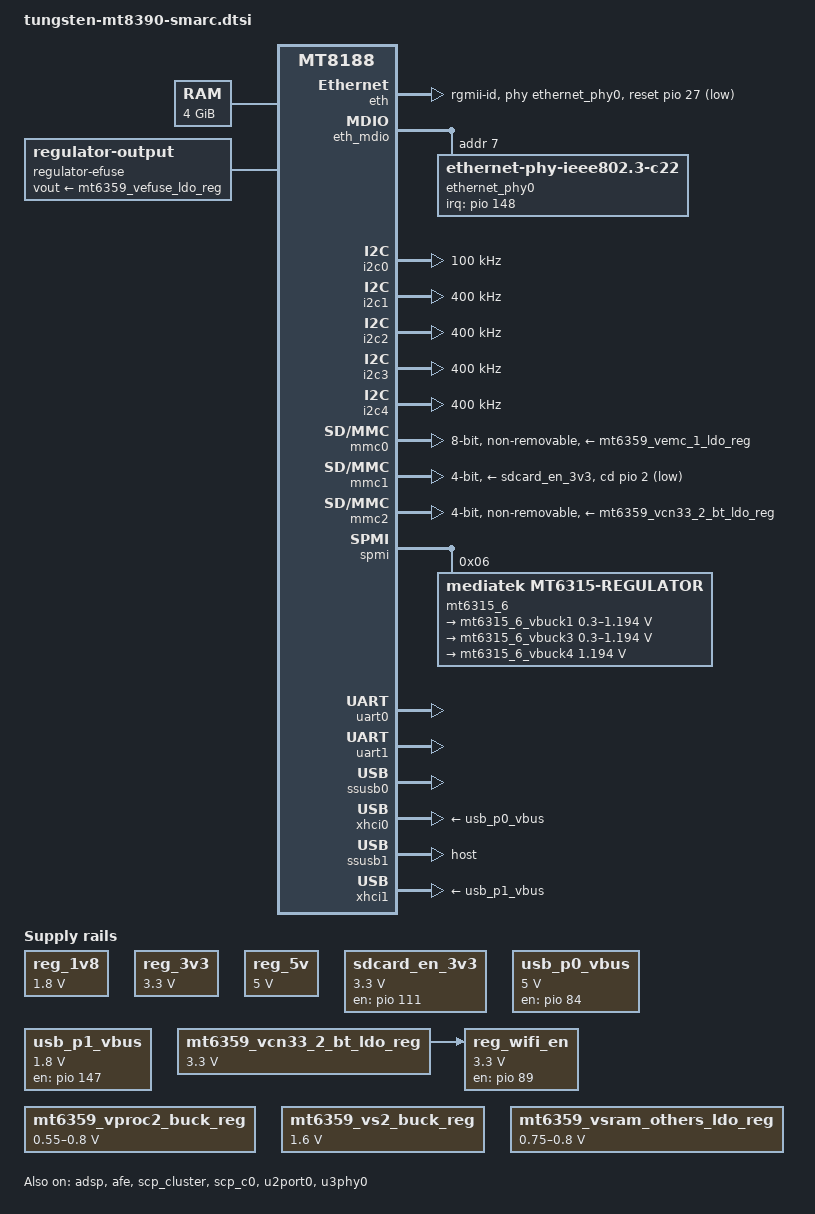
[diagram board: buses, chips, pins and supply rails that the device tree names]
// SPDX-License-Identifier: (GPL-2.0 OR MIT)
/*
 * Copyright (C) 2025-2026 Ezurio LLC
 */

#include "mt8188.dtsi"
#include "mt6359.dtsi"
#include <dt-bindings/clock/mediatek,mt8188-clk.h>
#include <dt-bindings/gpio/gpio.h>
#include <dt-bindings/input/input.h>
#include <dt-bindings/input/linux-event-codes.h>
#include <dt-bindings/interrupt-controller/irq.h>
#include <dt-bindings/net/microchip-lan78xx.h>
#include <dt-bindings/pinctrl/mediatek,mt8188-pinfunc.h>
#include <dt-bindings/power/mediatek,mt8188-power.h>
#include <dt-bindings/spmi/spmi.h>
#include <dt-bindings/usb/pd.h>

/ {
	aliases {
		ethernet0 = &eth;
		i2c0 = &i2c0;
		i2c1 = &i2c1;
		i2c2 = &i2c2;
		i2c3 = &i2c3;
		i2c4 = &i2c4;
		i2c6 = &i2c6;
		mmc0 = &mmc0;
		mmc1 = &mmc1;
		mmc2 = &mmc2;
		rtc0 = &mt6359rtc;
		serial0 = &uart0;
	};

	chosen {
		stdout-path = "serial0:115200n8";
	};

	firmware {
		optee {
			compatible = "linaro,optee-tz";
			method = "smc";
		};
	};

	memory@40000000 {
		device_type = "memory";
		reg = <0 0x40000000 0x1 0x00000000>;
	};

	reserved-memory {
		#address-cells = <2>;
		#size-cells = <2>;
		ranges;

		optee_reserved: optee@43200000 {
			no-map;
			reg = <0 0x43200000 0 0x00c00000>;
		};

		scp_mem: memory@50000000 {
			compatible = "shared-dma-pool";
			reg = <0 0x50000000 0 0x2900000>;
			no-map;
		};

		bl31_secmon_reserved: memory@54600000 {
			no-map;
			reg = <0 0x54600000 0x0 0x200000>;
		};

		apu_mem: memory@55000000 {
			compatible = "shared-dma-pool";
			reg = <0 0x55000000 0 0x1400000>;
		};

		vpu_mem: memory@57000000 {
			compatible = "shared-dma-pool";
			reg = <0 0x57000000 0 0x1400000>;
		};

		adsp_mem: memory@60000000 {
			compatible = "shared-dma-pool";
			reg = <0 0x60000000 0 0xf00000>;
			no-map;
		};

		afe_dma_mem: memory@60f00000 {
			compatible = "shared-dma-pool";
			reg = <0 0x60f00000 0 0x100000>;
			no-map;
		};

		adsp_dma_mem: memory@61000000 {
			compatible = "shared-dma-pool";
			reg = <0 0x61000000 0 0x100000>;
			no-map;
		};
	};

	regulator-efuse {
		compatible = "regulator-output";
		vout-supply = <&mt6359_vefuse_ldo_reg>;
	};

	reg_1v8: regulator-1v8 {
		compatible = "regulator-fixed";
		regulator-name = "reg_1v8";
		regulator-min-microvolt = <1800000>;
		regulator-max-microvolt = <1800000>;
		regulator-always-on;
	};

	reg_3v3: regulator-3v3 {
		compatible = "regulator-fixed";
		regulator-name = "reg_3v3";
		regulator-min-microvolt = <3300000>;
		regulator-max-microvolt = <3300000>;
		regulator-always-on;
	};

	reg_5v: regulator-5v {
		compatible = "regulator-fixed";
		regulator-name = "reg_5v";
		regulator-min-microvolt = <5000000>;
		regulator-max-microvolt = <5000000>;
		regulator-always-on;
	};

	sdcard_en_3v3: regulator-sdcard-en {
		compatible = "regulator-fixed";
		regulator-always-on;
		regulator-name = "sdcard_en_3v3";
		regulator-min-microvolt = <3300000>;
		regulator-max-microvolt = <3300000>;
		gpio = <&pio 111 GPIO_ACTIVE_HIGH>;
		enable-active-high;
	};

	usb_p0_vbus: regulator-usb-p0-vbus {
		compatible = "regulator-fixed";
		regulator-name = "vbus_p0";
		regulator-min-microvolt = <5000000>;
		regulator-max-microvolt = <5000000>;
		gpio = <&pio 84 GPIO_ACTIVE_HIGH>;
		enable-active-high;
	};

	usb_p1_vbus: regulator-usb-p1-vbus {
		compatible = "regulator-fixed";
		pinctrl-names = "default";
		pinctrl-0 = <&usb1_hub_pins>;
		regulator-name = "vbus_p1";
		regulator-min-microvolt = <1800000>;
		regulator-max-microvolt = <1800000>;
		gpio = <&pio 147 GPIO_ACTIVE_HIGH>;
		enable-active-high;
	};

	reg_wifi_en: regulator-wifi-en {
		compatible = "regulator-fixed";
		regulator-name = "reg_wifi_en";
		regulator-min-microvolt = <3300000>;
		regulator-max-microvolt = <3300000>;
		vin-supply = <&mt6359_vcn33_2_bt_ldo_reg>;
		pinctrl-names = "default";
		pinctrl-0 = <&wifi_en_pins>;
		gpio = <&pio 89 GPIO_ACTIVE_HIGH>;
		enable-active-high;
	};
	/* Remaining MT8390 Tungsten carrier wiring comes from upstream. */
};

&{/soc} {
	seninf_top: seninf_top@16010000 {
		compatible = "mediatek,isp71-seninf-core";
		reg = <0 0x16010000 0 0x8000>,
		      <0 0x11ed0000 0 0xc000>;
		reg-names = "base", "ana-rx";
		mtk_csi_phy_ver = "mtk_csi_phy_2_0";
		interrupts = <GIC_SPI 316 IRQ_TYPE_LEVEL_HIGH 0>;
		power-domains = <&spm MT8188_POWER_DOMAIN_CSIRX_TOP>,
				<&spm MT8188_POWER_DOMAIN_CAM_VCORE>,
				<&spm MT8188_POWER_DOMAIN_CAM_MAIN>;
		clocks = <&camsys CLK_CAM_MAIN_SENINF>,
			 <&topckgen CLK_TOP_SENINF>,
			 <&topckgen CLK_TOP_SENINF1>,
			 <&topckgen CLK_TOP_CAMTM>;
		clock-names = "clk_cam_seninf",
			      "clk_top_seninf",
			      "clk_top_seninf1",
			      "clk_top_camtm";

		seninf_csi_port_0: seninf_csi_port_0 {
			compatible = "mediatek,isp71-seninf";
			csi-port = "0";
			status = "disabled";
		};

		seninf_csi_port_1: seninf_csi_port_1 {
			compatible = "mediatek,isp71-seninf";
			csi-port = "1";
			status = "disabled";
		};
	};
};

&adsp {
	memory-region = <&adsp_dma_mem>, <&adsp_mem>;
	status = "okay";
};

&afe {
	memory-region = <&afe_dma_mem>;
	status = "okay";
};

&cpu0 {
	cpu-supply = <&mt6359_vcore_buck_reg>;
};

&cpu1 {
	cpu-supply = <&mt6359_vcore_buck_reg>;
};

&cpu2 {
	cpu-supply = <&mt6359_vcore_buck_reg>;
};

&cpu3 {
	cpu-supply = <&mt6359_vcore_buck_reg>;
};

&cpu6 {
	cpu-supply = <&mt6315_6_vbuck1>;
};

&cpu7 {
	cpu-supply = <&mt6315_6_vbuck1>;
};

&eth {
	phy-mode ="rgmii-id";
	phy-handle = <&ethernet_phy0>;
	pinctrl-names = "default", "sleep";
	pinctrl-0 = <&eth_default_pins>;
	pinctrl-1 = <&eth_sleep_pins>;
	mediatek,mac-wol;
	snps,reset-gpio = <&pio 27 GPIO_ACTIVE_LOW>;
	snps,reset-active-low;
	snps,reset-delays-us = <0 11000 1000>;
	status = "okay";
};

&eth_mdio {
	ethernet_phy0: ethernet-phy@7 {
		compatible = "ethernet-phy-ieee802.3-c22";
		reg = <0x7>;
		interrupts-extended = <&pio 148 IRQ_TYPE_LEVEL_LOW>;
	};
};

&gamma0_out {
	remote-endpoint = <&postmask0_in>;
};

&gpu {
	mali-supply = <&mt6359_vproc2_buck_reg>;
};

&i2c0 {
	pinctrl-names = "default";
	pinctrl-0 = <&i2c0_pins>;
	clock-frequency = <100000>;

	#address-cells = <1>;
	#size-cells = <0>;
};

&i2c1 {
	pinctrl-names = "default";
	pinctrl-0 = <&i2c1_pins>;
	clock-frequency = <400000>;

	#address-cells = <1>;
	#size-cells = <0>;
};

&i2c2 {
	pinctrl-names = "default";
	pinctrl-0 = <&i2c2_pins>;
	clock-frequency = <400000>;

	#address-cells = <1>;
	#size-cells = <0>;
};

&i2c3 {
	pinctrl-names = "default";
	pinctrl-0 = <&i2c3_pins>;
	clock-frequency = <400000>;

	#address-cells = <1>;
	#size-cells = <0>;
};

&i2c4 {
	pinctrl-names = "default";
	pinctrl-0 = <&i2c4_pins>;
	clock-frequency = <400000>;

	#address-cells = <1>;
	#size-cells = <0>;
};

&mfg0 {
	domain-supply = <&mt6359_vproc2_buck_reg>;
};

&mfg1 {
	domain-supply = <&mt6359_vsram_others_ldo_reg>;
};

&mmc0 {
	bus-width = <8>;
	cap-mmc-highspeed;
	cap-mmc-hw-reset;
	hs400-ds-delay = <0x1481b>;
	max-frequency = <200000000>;
	mmc-hs200-1_8v;
	mmc-hs400-1_8v;
	non-removable;
	no-sd;
	no-sdio;
	supports-cqe;
	pinctrl-names = "default", "state_uhs";
	pinctrl-0 = <&mmc0_default_pins>;
	pinctrl-1 = <&mmc0_uhs_pins>;
	vmmc-supply = <&mt6359_vemc_1_ldo_reg>;
	vqmmc-supply = <&mt6359_vufs_ldo_reg>;
	status = "okay";
};

&mmc1 {
	bus-width = <4>;
	cap-sd-highspeed;
	max-frequency = <200000000>;
	sd-uhs-sdr104;
	sd-uhs-sdr50;
	pinctrl-names = "default", "state_uhs";
	pinctrl-0 = <&mmc1_default_pins>;
	pinctrl-1 = <&mmc1_uhs_pins>;
	cd-gpios = <&pio 2 GPIO_ACTIVE_LOW>;
	vqmmc-supply = <&mt6359_vsim1_ldo_reg>;
	vmmc-supply = <&sdcard_en_3v3>;
};

&mmc2 {
	bus-width = <4>;
	cap-sd-highspeed;
	cap-sdio-irq;
	keep-power-in-suspend;
	max-frequency = <200000000>;
	no-mmc;
	non-removable;
	no-sd;
	sd-uhs-sdr104;
	wakeup-source;
	pinctrl-names = "default", "state_uhs", "state_eint";
	pinctrl-0 = <&mmc2_default_pins>;
	pinctrl-1 = <&mmc2_uhs_pins>;
	pinctrl-2 = <&mmc2_eint_pins>;
	interrupt-names = "msdc", "sdio_wakeup";
	interrupts-extended = <&gic GIC_SPI 136 IRQ_TYPE_LEVEL_HIGH 0>,
			      <&pio 172 IRQ_TYPE_LEVEL_LOW>;
	vmmc-supply = <&mt6359_vcn33_2_bt_ldo_reg>;
	vqmmc-supply = <&mt6359_vcn18_ldo_reg>;
};

&mipi_tx_config0 {
};

&mt6359codec {
	mediatek,mic-type-0 = <1>;
	mediatek,mic-type-1 = <3>;
};

&mt6359_vbbck_ldo_reg { regulator-always-on; };
&mt6359_vcn18_ldo_reg {
	regulator-name = "vcn18_pmu";
	regulator-always-on;
	regulator-boot-on;
};
&mt6359_vcn33_1_bt_ldo_reg {
	regulator-name = "vcn33_1_pmu";
	regulator-always-on;
};
&mt6359_vcn33_2_bt_ldo_reg {
	regulator-name = "vcn33_2_pmu";
	regulator-min-microvolt = <3300000>;
	regulator-max-microvolt = <3300000>;
	regulator-always-on;
	regulator-boot-on;
};
&mt6359_vcore_buck_reg {
	regulator-name = "dvdd_proc_l";
	regulator-always-on;
};
&mt6359_vemc_1_ldo_reg { regulator-always-on; };
&mt6359_vgpu11_buck_reg {
	regulator-name = "dvdd_core";
	regulator-always-on;
};
&mt6359_vmodem_buck_reg { regulator-always-on; };
&mt6359_vpa_buck_reg {
	regulator-name = "vpa_pmu";
	regulator-always-on;
};
&mt6359_vproc2_buck_reg {
	regulator-name = "vgpu";
	regulator-min-microvolt = <550000>;
	regulator-max-microvolt = <800000>;
	regulator-coupled-with = <&mt6359_vsram_others_ldo_reg>;
	regulator-coupled-max-spread = <225000>;
};
&mt6359_vs2_buck_reg {
	regulator-min-microvolt = <1600000>;
	regulator-boot-on;
};
&mt6359_vpu_buck_reg {
	regulator-name = "dvdd_adsp";
	regulator-always-on;
};
&mt6359_vrf12_ldo_reg {
	regulator-name = "va12_abb2_pmu";
	regulator-always-on;
};
&mt6359_vsram_md_ldo_reg { regulator-always-on; };
&mt6359_vsram_others_ldo_reg {
	regulator-name = "vsram_gpu";
	regulator-min-microvolt = <750000>;
	regulator-max-microvolt = <800000>;
	regulator-coupled-with = <&mt6359_vproc2_buck_reg>;
	regulator-coupled-max-spread = <225000>;
};
&mt6359_vsim1_ldo_reg {
	regulator-name = "vsim1_pmu";
	regulator-max-microvolt = <1800000>;
	regulator-enable-ramp-delay = <480>;
};
&mt6359_vufs_ldo_reg {
	regulator-name = "vufs18_pmu";
	regulator-always-on;
};

&ovl0_in { remote-endpoint = <&vdosys0_ep_main>; };

&pcie {
	pinctrl-names = "default";
	pinctrl-0 = <&pcie_default_pins>;
};

&pmic {
	interrupts-extended = <&pio 222 IRQ_TYPE_LEVEL_HIGH>;

	keys {
		compatible = "mediatek,mt6359-keys";
		mediatek,long-press-mode = <1>;
		power-off-time-sec = <0>;

		power-key {
			linux,keycodes = <KEY_POWER>;
			wakeup-source;
		};
	};
};

&postmask0_in { remote-endpoint = <&gamma0_out>; };
&scp_cluster { status = "okay"; };
&scp_c0 {
	memory-region = <&scp_mem>;
	status = "okay";
};

&spi0 {
	pinctrl-0 = <&spi0_pins>;
	pinctrl-names = "default";
	mediatek,pad-select = <0>;
};

&spi1 {
	pinctrl-0 = <&spi1_pins>;
	pinctrl-names = "default";
	mediatek,pad-select = <0>;
};

&spmi {
	#address-cells = <2>;
	#size-cells = <0>;

	mt6315_6: pmic@6 {
		compatible = "mediatek,mt6315-regulator";
		reg = <0x6 SPMI_USID>;

		regulators {
			mt6315_6_vbuck1: vbuck1 {
				regulator-name = "vbuck1";
				regulator-min-microvolt = <300000>;
				regulator-max-microvolt = <1193750>;
				regulator-enable-ramp-delay = <256>;
				regulator-allowed-modes = <0 1 2>;
				regulator-always-on;
			};

			mt6315_6_vbuck3: vbuck3 {
				regulator-name = "vbuck3";
				regulator-min-microvolt = <300000>;
				regulator-max-microvolt = <1193750>;
				regulator-enable-ramp-delay = <256>;
				regulator-allowed-modes = <0 1 2>;
				regulator-always-on;
			};

			mt6315_6_vbuck4: vbuck4 {
				regulator-name = "vbuck4";
				regulator-min-microvolt = <1193750>;
				regulator-max-microvolt = <1193750>;
				regulator-enable-ramp-delay = <256>;
				regulator-allowed-modes = <0 1 2>;
				regulator-always-on;

				regulator-state-mem {
					regulator-on-in-suspend;
					regulator-suspend-microvolt = <1193750>;
				};
			};
		};
	};
};

&uart0 {
	pinctrl-0 = <&uart0_pins>;
	pinctrl-names = "default";
	status = "okay";
};

&uart1 {
	pinctrl-0 = <&uart1_pins>;
	pinctrl-names = "default";
	status = "okay";
};

&uart2 {
	pinctrl-0 = <&uart2_pins>;
	pinctrl-names = "default";
};

&uart3 {
	pinctrl-0 = <&uart3_pins>;
	pinctrl-names = "default";
};

&ssusb0 {
	wakeup-source;
	vusb33-supply = <&mt6359_vusb_ldo_reg>;
	pinctrl-0 = <&usbotg_pins>;
	pinctrl-names = "default";
	status = "okay";
};

&u2port0 { status = "okay"; };
&u3phy0 { status = "okay"; };
&xhci0 {
	vbus-supply = <&usb_p0_vbus>;
	vusb33-supply = <&mt6359_vusb_ldo_reg>;
	status = "okay";
};

&ssusb1 {
	dr_mode = "host";
	wakeup-source;
	vusb33-supply = <&mt6359_vusb_ldo_reg>;
	pinctrl-0 = <&usb1_pins>;
	pinctrl-names = "default";
};

&xhci1 {
	vbus-supply = <&usb_p1_vbus>;
	vusb33-supply = <&mt6359_vusb_ldo_reg>;
};

&vdosys0 {
	port {
		#address-cells = <1>;
		#size-cells = <0>;

		vdosys0_ep_main: endpoint@0 {
			reg = <0>;
			remote-endpoint = <&ovl0_in>;
		};
	};
};

&watchdog {
	pinctrl-names = "default";
	pinctrl-0 = <&watchdog_pins>;
};

&pio {
	audio_pins: audio-pins {
		pins-aud-pmic {
			pinmux = <PINMUX_GPIO101__FUNC_O_AUD_CLK_MOSI
				  PINMUX_GPIO102__FUNC_O_AUD_SYNC_MOSI
				  PINMUX_GPIO103__FUNC_O_AUD_DAT_MOSI0
				  PINMUX_GPIO104__FUNC_O_AUD_DAT_MOSI1
				  PINMUX_GPIO105__FUNC_I0_AUD_DAT_MISO0
				  PINMUX_GPIO106__FUNC_I0_AUD_DAT_MISO1>;
		};

		pins-pcm-wifi {
			pinmux = <PINMUX_GPIO121__FUNC_B0_PCM_CLK
				  PINMUX_GPIO122__FUNC_B0_PCM_SYNC
				  PINMUX_GPIO123__FUNC_O_PCM_DO
				  PINMUX_GPIO124__FUNC_I0_PCM_DI>;
		};

		pins-i2s {
			pinmux = <PINMUX_GPIO119__FUNC_O_I2SO1_MCK
				  PINMUX_GPIO112__FUNC_O_I2SO1_WS
				  PINMUX_GPIO120__FUNC_O_I2SO1_BCK
				  PINMUX_GPIO113__FUNC_O_I2SO1_D0
				  PINMUX_GPIO110__FUNC_I0_I2SIN_D0>;
		};
	};

	eth_default_pins: eth-default-pins {
		pins-txd {
			pinmux = <PINMUX_GPIO131__FUNC_O_GBE_TXD3>,
				 <PINMUX_GPIO132__FUNC_O_GBE_TXD2>,
				 <PINMUX_GPIO133__FUNC_O_GBE_TXD1>,
				 <PINMUX_GPIO134__FUNC_O_GBE_TXD0>;
			drive-strength = <8>;
		};
		pins-cc {
			pinmux = <PINMUX_GPIO139__FUNC_B0_GBE_TXC>,
				 <PINMUX_GPIO142__FUNC_O_GBE_TXEN>,
				 <PINMUX_GPIO141__FUNC_I0_GBE_RXDV>;
			drive-strength = <8>;
		};
		pins-rxd {
			pinmux = <PINMUX_GPIO135__FUNC_I0_GBE_RXD3>,
				 <PINMUX_GPIO136__FUNC_I0_GBE_RXD2>,
				 <PINMUX_GPIO137__FUNC_I0_GBE_RXD1>,
				 <PINMUX_GPIO138__FUNC_I0_GBE_RXD0>,
				 <PINMUX_GPIO140__FUNC_I0_GBE_RXC>;
			drive-strength = <8>;
			bias-pull-up = <MTK_PUPD_SET_R1R0_10>;
		};
		pins-mdio {
			pinmux = <PINMUX_GPIO143__FUNC_O_GBE_MDC>,
				 <PINMUX_GPIO144__FUNC_B1_GBE_MDIO>;
			drive-strength = <8>;
			input-enable;
		};
		pins-power {
			pinmux = <PINMUX_GPIO27__FUNC_B_GPIO27>;
			output-high;
		};
		pins-intr {
			pinmux = <PINMUX_GPIO148__FUNC_B_GPIO148>;
			bias-pull-up = <MTK_PUPD_SET_R1R0_10>;
			input-enable;
		};
	};

	eth_sleep_pins: eth-sleep-pins {
		pins-txd {
			pinmux = <PINMUX_GPIO131__FUNC_B_GPIO131>,
				 <PINMUX_GPIO132__FUNC_B_GPIO132>,
				 <PINMUX_GPIO133__FUNC_B_GPIO133>,
				 <PINMUX_GPIO134__FUNC_B_GPIO134>;
		};
		pins-cc {
			pinmux = <PINMUX_GPIO139__FUNC_B_GPIO139>,
				 <PINMUX_GPIO142__FUNC_B_GPIO142>,
				 <PINMUX_GPIO141__FUNC_B_GPIO141>,
				 <PINMUX_GPIO140__FUNC_B_GPIO140>;
		};
		pins-rxd {
			pinmux = <PINMUX_GPIO135__FUNC_B_GPIO135>,
				 <PINMUX_GPIO136__FUNC_B_GPIO136>,
				 <PINMUX_GPIO137__FUNC_B_GPIO137>,
				 <PINMUX_GPIO138__FUNC_B_GPIO138>;
		};
		pins-mdio {
			pinmux = <PINMUX_GPIO143__FUNC_B_GPIO143>,
				 <PINMUX_GPIO144__FUNC_B_GPIO144>;
			input-disable;
			bias-disable;
		};
	};

	gpio_keys_pins: gpio-keys-pins {
		pins-keys {
			pinmux = <PINMUX_GPIO129__FUNC_B_GPIO129>,
				 <PINMUX_GPIO65__FUNC_B_GPIO65>,
				 <PINMUX_GPIO66__FUNC_B_GPIO66>;
			bias-pull-up;
		};
	};

	hdmi_vreg_pins: hdmi-vreg-pins {
		pins-pwr {
			pinmux = <PINMUX_GPIO50__FUNC_O_HDMITX20_PWR5V>;
			bias-disable;
		};
	};

	hdmi_pins: hdmi-pins {
		pins-hotplug {
			pinmux = <PINMUX_GPIO51__FUNC_I0_HDMITX20_HTPLG>;
			bias-pull-down;
		};

		pins-cec {
			pinmux = <PINMUX_GPIO52__FUNC_B1_HDMITX20_CEC>;
			bias-disable;
		};

		pins-ddc {
			pinmux = <PINMUX_GPIO53__FUNC_B1_HDMITX20_SCL>,
				 <PINMUX_GPIO54__FUNC_B1_HDMITX20_SDA>;
			drive-strength = <10>;
		};
	};

	i2c0_pins: i2c0-pins {
		pins-bus {
			pinmux = <PINMUX_GPIO56__FUNC_B1_SDA0>,
				 <PINMUX_GPIO55__FUNC_B1_SCL0>;
			bias-pull-up = <MTK_PULL_SET_RSEL_011>;
			drive-strength-microamp = <1000>;
		};
	};

	i2c1_pins: i2c1-pins {
		pins-bus {
			pinmux = <PINMUX_GPIO58__FUNC_B1_SDA1>,
				 <PINMUX_GPIO57__FUNC_B1_SCL1>;
			bias-pull-up = <MTK_PULL_SET_RSEL_011>;
			drive-strength-microamp = <1000>;
		};
	};

	i2c2_pins: i2c2-pins {
		pins-bus {
			pinmux = <PINMUX_GPIO60__FUNC_B1_SDA2>,
				 <PINMUX_GPIO59__FUNC_B1_SCL2>;
			bias-pull-up = <MTK_PULL_SET_RSEL_011>;
			drive-strength-microamp = <1000>;
		};
	};

	i2c3_pins: i2c3-pins {
		pins-bus {
			pinmux = <PINMUX_GPIO62__FUNC_B1_SDA3>,
				 <PINMUX_GPIO61__FUNC_B1_SCL3>;
			bias-pull-up = <MTK_PULL_SET_RSEL_011>;
			drive-strength-microamp = <1000>;
		};
	};

	i2c4_pins: i2c4-pins {
		pins-bus {
			pinmux = <PINMUX_GPIO64__FUNC_B1_SDA4>,
				 <PINMUX_GPIO63__FUNC_B1_SCL4>;
			bias-pull-up = <MTK_PULL_SET_RSEL_011>;
			drive-strength-microamp = <1000>;
		};
	};

	mmc0_default_pins: mmc0-default-pins {
		pins-cmd-dat {
			pinmux = <PINMUX_GPIO161__FUNC_B1_MSDC0_DAT0>,
				 <PINMUX_GPIO160__FUNC_B1_MSDC0_DAT1>,
				 <PINMUX_GPIO159__FUNC_B1_MSDC0_DAT2>,
				 <PINMUX_GPIO158__FUNC_B1_MSDC0_DAT3>,
				 <PINMUX_GPIO154__FUNC_B1_MSDC0_DAT4>,
				 <PINMUX_GPIO153__FUNC_B1_MSDC0_DAT5>,
				 <PINMUX_GPIO152__FUNC_B1_MSDC0_DAT6>,
				 <PINMUX_GPIO151__FUNC_B1_MSDC0_DAT7>,
				 <PINMUX_GPIO156__FUNC_B1_MSDC0_CMD>;
			input-enable;
			drive-strength = <6>;
			bias-pull-up = <MTK_PUPD_SET_R1R0_01>;
		};

		pins-clk {
			pinmux = <PINMUX_GPIO157__FUNC_B1_MSDC0_CLK>;
			drive-strength = <6>;
			bias-pull-down = <MTK_PUPD_SET_R1R0_10>;
		};

		pins-rst {
			pinmux = <PINMUX_GPIO155__FUNC_O_MSDC0_RSTB>;
			drive-strength = <6>;
			bias-pull-up = <MTK_PUPD_SET_R1R0_01>;
		};
	};

	mmc0_uhs_pins: mmc0-uhs-pins {
		pins-cmd-dat {
			pinmux = <PINMUX_GPIO161__FUNC_B1_MSDC0_DAT0>,
				 <PINMUX_GPIO160__FUNC_B1_MSDC0_DAT1>,
				 <PINMUX_GPIO159__FUNC_B1_MSDC0_DAT2>,
				 <PINMUX_GPIO158__FUNC_B1_MSDC0_DAT3>,
				 <PINMUX_GPIO154__FUNC_B1_MSDC0_DAT4>,
				 <PINMUX_GPIO153__FUNC_B1_MSDC0_DAT5>,
				 <PINMUX_GPIO152__FUNC_B1_MSDC0_DAT6>,
				 <PINMUX_GPIO151__FUNC_B1_MSDC0_DAT7>,
				 <PINMUX_GPIO156__FUNC_B1_MSDC0_CMD>;
			input-enable;
			drive-strength = <8>;
			bias-pull-up = <MTK_PUPD_SET_R1R0_01>;
		};

		pins-clk {
			pinmux = <PINMUX_GPIO157__FUNC_B1_MSDC0_CLK>;
			drive-strength = <8>;
			bias-pull-down = <MTK_PUPD_SET_R1R0_10>;
		};

		pins-ds {
			pinmux = <PINMUX_GPIO162__FUNC_B0_MSDC0_DSL>;
			drive-strength = <8>;
			bias-pull-down = <MTK_PUPD_SET_R1R0_10>;
		};

		pins-rst {
			pinmux = <PINMUX_GPIO155__FUNC_O_MSDC0_RSTB>;
			drive-strength = <8>;
			bias-pull-up = <MTK_PUPD_SET_R1R0_01>;
		};
	};

	mmc1_default_pins: mmc1-default-pins {
		pins-cmd-dat {
			pinmux = <PINMUX_GPIO163__FUNC_B1_MSDC1_CMD>,
				 <PINMUX_GPIO165__FUNC_B1_MSDC1_DAT0>,
				 <PINMUX_GPIO166__FUNC_B1_MSDC1_DAT1>,
				 <PINMUX_GPIO167__FUNC_B1_MSDC1_DAT2>,
				 <PINMUX_GPIO168__FUNC_B1_MSDC1_DAT3>;
			input-enable;
			drive-strength = <6>;
			bias-pull-up = <MTK_PUPD_SET_R1R0_01>;
		};

		pins-pwr {
			pinmux = <PINMUX_GPIO111__FUNC_B_GPIO111>;
			bias-pull-down;
		};

		pins-pullup {
			pinmux = <PINMUX_GPIO11__FUNC_B_GPIO11>;
			bias-pull-up;
		};

		pins-clk {
			pinmux = <PINMUX_GPIO164__FUNC_B1_MSDC1_CLK>;
			drive-strength = <6>;
			bias-pull-down = <MTK_PUPD_SET_R1R0_10>;
		};

		pins-insert {
			pinmux = <PINMUX_GPIO2__FUNC_B_GPIO2>;
			bias-pull-up;
		};
	};

	mmc1_uhs_pins: mmc1-uhs-pins {
		pins-cmd-dat {
			pinmux = <PINMUX_GPIO163__FUNC_B1_MSDC1_CMD>,
				 <PINMUX_GPIO165__FUNC_B1_MSDC1_DAT0>,
				 <PINMUX_GPIO166__FUNC_B1_MSDC1_DAT1>,
				 <PINMUX_GPIO167__FUNC_B1_MSDC1_DAT2>,
				 <PINMUX_GPIO168__FUNC_B1_MSDC1_DAT3>;
			input-enable;
			drive-strength = <6>;
			bias-pull-up = <MTK_PUPD_SET_R1R0_01>;
		};

		pins-clk {
			pinmux = <PINMUX_GPIO164__FUNC_B1_MSDC1_CLK>;
			drive-strength = <6>;
			bias-pull-down = <MTK_PUPD_SET_R1R0_10>;
		};
	};

	mmc2_default_pins: mmc2-default-pins {
		pins-clk {
			pinmux = <PINMUX_GPIO170__FUNC_B1_MSDC2_CLK>;
			drive-strength = <4>;
			bias-pull-down = <MTK_PUPD_SET_R1R0_10>;
		};

		pins-cmd-dat {
			pinmux = <PINMUX_GPIO169__FUNC_B1_MSDC2_CMD>,
				 <PINMUX_GPIO171__FUNC_B1_MSDC2_DAT0>,
				 <PINMUX_GPIO172__FUNC_B1_MSDC2_DAT1>,
				 <PINMUX_GPIO173__FUNC_B1_MSDC2_DAT2>,
				 <PINMUX_GPIO174__FUNC_B1_MSDC2_DAT3>;
			input-enable;
			drive-strength = <6>;
			bias-pull-up = <MTK_PUPD_SET_R1R0_01>;
		};
	};

	mmc2_uhs_pins: mmc2-uhs-pins {
		pins-clk {
			pinmux = <PINMUX_GPIO170__FUNC_B1_MSDC2_CLK>;
			drive-strength = <4>;
			bias-pull-down = <MTK_PUPD_SET_R1R0_10>;
		};

		pins-cmd-dat {
			pinmux = <PINMUX_GPIO169__FUNC_B1_MSDC2_CMD>,
				 <PINMUX_GPIO171__FUNC_B1_MSDC2_DAT0>,
				 <PINMUX_GPIO172__FUNC_B1_MSDC2_DAT1>,
				 <PINMUX_GPIO173__FUNC_B1_MSDC2_DAT2>,
				 <PINMUX_GPIO174__FUNC_B1_MSDC2_DAT3>;
			input-enable;
			drive-strength = <6>;
			bias-pull-up = <MTK_PUPD_SET_R1R0_01>;
		};
	};

	mmc2_eint_pins: mmc2-eint-pins {
		pins-dat1 {
			pinmux = <PINMUX_GPIO172__FUNC_B_GPIO172>;
			input-enable;
			bias-pull-up = <MTK_PUPD_SET_R1R0_01>;
		};
	};

	spi0_pins: spi0-pins {
		pins-spi {
			pinmux = <PINMUX_GPIO69__FUNC_O_SPIM0_CSB>,
				 <PINMUX_GPIO70__FUNC_O_SPIM0_CLK>,
				 <PINMUX_GPIO71__FUNC_B0_SPIM0_MOSI>,
				 <PINMUX_GPIO72__FUNC_B0_SPIM0_MISO>;
			bias-disable;
		};
	};

	spi1_pins: spi1-pins {
		pins-spi {
			pinmux = <PINMUX_GPIO75__FUNC_O_SPIM1_CSB>,
				 <PINMUX_GPIO76__FUNC_O_SPIM1_CLK>,
				 <PINMUX_GPIO77__FUNC_B0_SPIM1_MOSI>,
				 <PINMUX_GPIO78__FUNC_B0_SPIM1_MISO>;
			bias-disable;
		};
	};

	pcie_default_pins: pcie-default-pins {
		pins {
			pinmux = <PINMUX_GPIO47__FUNC_I1_WAKEN>,
				 <PINMUX_GPIO48__FUNC_O_PERSTN>,
				 <PINMUX_GPIO49__FUNC_B1_CLKREQN>;
			bias-pull-up;
		};
	};

	uart0_pins: uart0-pins {
		pins {
			pinmux = <PINMUX_GPIO31__FUNC_O_UTXD0>,
				 <PINMUX_GPIO32__FUNC_I1_URXD0>;
			bias-pull-up;
		};
	};

	uart1_pins: uart1-pins {
		pins {
			pinmux = <PINMUX_GPIO33__FUNC_O_UTXD1>,
				 <PINMUX_GPIO34__FUNC_I1_URXD1>;
			bias-pull-up;
		};
	};

	uart2_pins: uart2-pins {
		pins {
			pinmux = <PINMUX_GPIO35__FUNC_O_UTXD2>,
				 <PINMUX_GPIO36__FUNC_I1_URXD2>;
			bias-pull-up;
		};
	};

	uart3_pins: uart3-pins {
		pins {
			pinmux = <PINMUX_GPIO16__FUNC_O_UTXD3>,
				 <PINMUX_GPIO17__FUNC_I1_URXD3>;
			bias-pull-up;
		};
	};

	usbotg_pins: usbotg-pins {
		pins-iddig {
			pinmux = <PINMUX_GPIO83__FUNC_B_GPIO83>;
			input-enable;
			bias-pull-up;
		};

		pins-valid {
			pinmux = <PINMUX_GPIO85__FUNC_I0_VBUSVALID>;
			input-enable;
		};

		pins-vbus {
			pinmux = <PINMUX_GPIO84__FUNC_O_USB_DRVVBUS>;
			output-high;
		};
	};

	usb1_hub_pins: usb1-hub-pins {
		pins {
			pinmux = <PINMUX_GPIO147__FUNC_B_GPIO147>;
			output-low;
		};
	};

	usb1_pins: usb1-pins {
		pins {
			pinmux = <PINMUX_GPIO88__FUNC_I0_VBUSVALID_1P>;
			input-enable;
		};
	};

	wifi_en_pins: wifi-en-pins {
		pins {
			pinmux = <PINMUX_GPIO89__FUNC_B_GPIO89>;
			output-low;
		};
	};

	watchdog_pins: watchdog-pins {
		pins {
			pinmux = <PINMUX_GPIO100__FUNC_O_WATCHDOG>;
			bias-pull-up;
		};
	};
};
